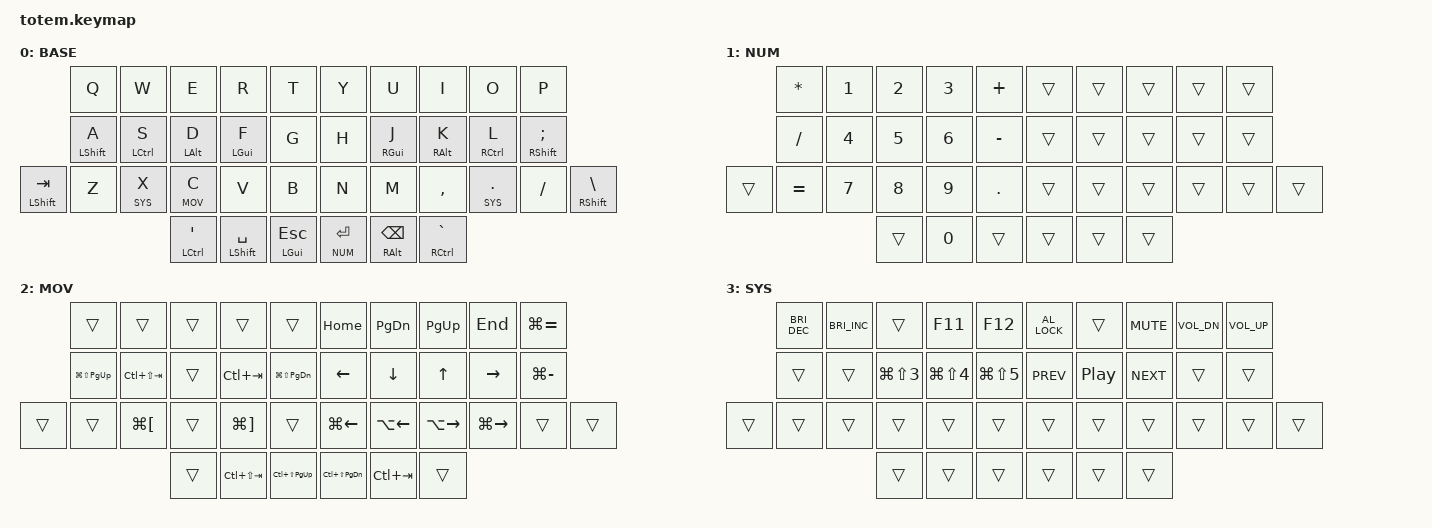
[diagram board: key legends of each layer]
//
//                                                        ▀▀▀▀▀     ▀▀▀▀▀          ▀▀█▀▀
//                                                        ▄▀▀▀▄  ▄  ▄▀▀▀▄  ▄  ▄▀▀▀▄  █  ▄▀▀▀▄
//                                                        █   █  █  █   █  █  █   █  █  █   █
//                                                         ▀▀▀   █   ▀▀▀   █   ▀▀▀   ▀   ▀▀▀
//                                                               █      ▄▄▄█▄▄▄    █   █  
//                                                               ▀      █  █  █     █▄█
//                                                             ▀▀▀▀▀    █  █  █      ▀
//                                                                      ▀  ▀  ▀
//
// ▄▄▄▄▄▄▄▄▄▄▄▄▄▄▄▄▄▄▄▄▄▄▄▄▄▄▄▄▄▄▄▄▄▄▄▄▄▄▄▄▄▄▄▄▄▄▄▄▄▄▄▄▄▄▄▄▄▄▄▄▄▄▄▄▄▄▄▄▄▄▄▄▄▄▄▄▄▄▄▄▄▄▄▄▄▄▄▄▄▄▄▄▄▄▄▄▄▄▄▄▄▄▄▄▄▄▄▄▄▄▄▄▄▄▄▄▄▄▄▄▄▄▄▄▄▄▄▄▄▄▄▄▄▄▄▄▄▄▄▄▄▄▄▄▄▄▄▄▄
			

#include <behaviors.dtsi>
#include <dt-bindings/zmk/keys.h>
#include <dt-bindings/zmk/bt.h>
#include <dt-bindings/zmk/outputs.h>

#define BASE 0
#define NUM  1
#define MOV  2
#define SYS  3

&mt {
  tapping-term-ms = <200>;
  quick-tap-ms = <150>;
  require-prior-idle-ms = <150>;
  flavor = "hold-preferred";
};

&lt {
  tapping-term-ms = <200>;
  quick-tap-ms = <150>;
  require-prior-idle-ms = <150>;
  flavor = "hold-preferred";
};

/ {
    behaviors {
        hml: home_row_mod_left {
            compatible = "zmk,behavior-hold-tap";
            #binding-cells = <2>;
            flavor = "balanced";
            require-prior-idle-ms = <150>;
            tapping-term-ms = <200>;
            global-quick-tap;
            quick-tap-ms = <150>;
            bindings = <&kp>, <&kp>;
            hold-trigger-key-positions = <5 6 7 8 9 15 16 17 18 19 26 27 28 29 30 31 32 33 34 35 36 37>;
            hold-trigger-on-release;
        };
        hmr: home_row_mod_right {
            compatible = "zmk,behavior-hold-tap";
            #binding-cells = <2>;
            flavor = "balanced";
            require-prior-idle-ms = <150>;
            tapping-term-ms = <200>;
            global-quick-tap;
            quick-tap-ms = <150>;
            bindings = <&kp>, <&kp>;
            hold-trigger-key-positions = <0 1 2 3 4 10 11 12 13 14 20 21 22 23 24 25 32 33 34 35 36 37>;
            hold-trigger-on-release;
        };
        st: secure_hold_tap {
            compatible = "zmk,behavior-hold-tap";
            #binding-cells = <2>;
            flavor = "balanced";
            require-prior-idle-ms = <150>;
            tapping-term-ms = <200>;
            global-quick-tap;
            quick-tap-ms = <150>;
            bindings = <&kp>, <&kp>;
            hold-trigger-on-release;
        };
    };
};

/ {
        keymap {
                compatible = "zmk,keymap";
// ▄▄▄▄▄▄▄▄▄▄▄▄▄▄▄▄▄▄▄▄▄▄▄▄▄▄▄▄▄▄▄▄▄▄▄▄▄▄▄▄▄▄▄▄▄▄▄▄▄▄▄▄▄▄▄▄▄▄▄▄▄▄▄▄▄▄▄▄▄▄▄▄▄▄▄▄▄▄▄▄▄▄▄▄▄▄▄▄▄▄▄▄▄▄▄▄▄▄▄▄▄▄▄▄▄▄▄▄▄▄▄▄▄▄▄▄▄▄▄▄▄▄▄▄▄▄▄▄▄▄▄▄▄▄▄▄▄▄▄▄▄▄▄▄▄▄▄▄▄

                base_layer {
// ┏━━━━━━━━━━━━━━━━━━━━━━━━━━━━━━━━━━━━━━━┓
label= "BASE"                              ;
// ┗━━━━━━━━━━━━━━━━━━━━━━━━━━━━━━━━━━━━━━━┛
//             ┏━━━━━━━━━━━┳━━━━━━━━━━━┳━━━━━━━━━━━┳━━━━━━━━━━━┳━━━━━━━━━━━┓   ┏━━━━━━━━━━━┳━━━━━━━━━━━┳━━━━━━━━━━━┳━━━━━━━━━━━┳━━━━━━━━━━━┓
//             ┃     Q     ┃     W     ┃     E     ┃     R     ┃     T     ┃   ┃     Y     ┃     U     ┃     I     ┃     O     ┃     P     ┃
//             ┣━━━━━━━━━━━╋━━━━━━━━━━━╋━━━━━━━━━━━╋━━━━━━━━━━━╋━━━━━━━━━━━┫   ┣━━━━━━━━━━━╋━━━━━━━━━━━╋━━━━━━━━━━━╋━━━━━━━━━━━╋━━━━━━━━━━━┫
//             ┃     A     ┃     S     ┃     D     ┃     F     ┃     G     ┃   ┃     H     ┃     J     ┃     K     ┃     L     ┃     ;     ┃
// ┏━━━━━━━━━━━╋━━━━━━━━━━━╋━━━━━━━━━━━╋━━━━━━━━━━━╋━━━━━━━━━━━╋━━━━━━━━━━━┫   ┣━━━━━━━━━━━╋━━━━━━━━━━━╋━━━━━━━━━━━╋━━━━━━━━━━━╋━━━━━━━━━━━╋━━━━━━━━━━━┓
// ┃    TAB    ┃     Z     ┃     X     ┃     C     ┃     V     ┃     B     ┃   ┃     N     ┃     M     ┃     ,     ┃     .     ┃     /     ┃     \     ┃
// ┗━━━━━━━━━━━┻━━━━━━━━━━━┻━━━━━━━━━━━╋━━━━━━━━━━━╋━━━━━━━━━━━╋━━━━━━━━━━━┫   ┣━━━━━━━━━━━╋━━━━━━━━━━━╋━━━━━━━━━━━╋━━━━━━━━━━━┻━━━━━━━━━━━┻━━━━━━━━━━━┛
//                                     ┃     '     ┃   SPACE   ┃    ESC    ┃   ┃   ENTER   ┃    BSPC   ┃     `     ┃
//                                     ┗━━━━━━━━━━━┻━━━━━━━━━━━┻━━━━━━━━━━━┛   ┗━━━━━━━━━━━┻━━━━━━━━━━━┻━━━━━━━━━━━┛

 bindings = <
// ╷             ╷             ╷             ╷             ╷             ╷             ╷   ╷             ╷              ╷             ╷             ╷             ╷             ╷

                  &kp Q         &kp W         &kp E         &kp R         &kp T             &kp Y         &kp U          &kp I         &kp O         &kp P
                  &hml LSHFT A  &hml LCTRL S  &hml LALT D   &hml LGUI F   &kp G             &kp H         &hmr RGUI J    &hmr RALT K   &hmr RCTRL L  &hmr RSHFT SEMI
    &mt LSHFT TAB &kp Z         &lt SYS X     &lt MOV C     &kp V         &kp B             &kp N         &kp M          &kp COMMA     &lt SYS DOT   &kp FSLH      &mt RSHFT BSLH
                                              &mt LCTRL SQT &st LSHFT SPACE &mt LGUI ESC    &lt NUM ENTER &mt RALT BSPC  &mt RCTRL GRAVE
                        >;
                };

// ▄▄▄▄▄▄▄▄▄▄▄▄▄▄▄▄▄▄▄▄▄▄▄▄▄▄▄▄▄▄▄▄▄▄▄▄▄▄▄▄▄▄▄▄▄▄▄▄▄▄▄▄▄▄▄▄▄▄▄▄▄▄▄▄▄▄▄▄▄▄▄▄▄▄▄▄▄▄▄▄▄▄▄▄▄▄▄▄▄▄▄▄▄▄▄▄▄▄▄▄▄▄▄▄▄▄▄▄▄▄▄▄▄▄▄▄▄▄▄▄▄▄▄▄▄▄▄▄▄▄▄▄▄▄▄▄▄▄▄▄▄▄▄▄▄▄▄▄▄

                num_layer {
// ┏━━━━━━━━━━━━━━━━━━━━━━━━━━━━━━━━━━━━━━━┓
label= "NUM"                               ;
// ┗━━━━━━━━━━━━━━━━━━━━━━━━━━━━━━━━━━━━━━━┛
//             ┏━━━━━━━━━━━┳━━━━━━━━━━━┳━━━━━━━━━━━┳━━━━━━━━━━━┳━━━━━━━━━━━┓   ┏━━━━━━━━━━━┳━━━━━━━━━━━┳━━━━━━━━━━━┳━━━━━━━━━━━┳━━━━━━━━━━━┓
//             ┃     *     ┃     1     ┃     2     ┃     3     ┃     +     ┃   ┃           ┃           ┃           ┃           ┃           ┃
//             ┣━━━━━━━━━━━╋━━━━━━━━━━━╋━━━━━━━━━━━╋━━━━━━━━━━━╋━━━━━━━━━━━┫   ┣━━━━━━━━━━━╋━━━━━━━━━━━╋━━━━━━━━━━━╋━━━━━━━━━━━╋━━━━━━━━━━━┫
//             ┃     /     ┃     4     ┃     5     ┃     6     ┃     -     ┃   ┃           ┃           ┃           ┃           ┃           ┃
// ┏━━━━━━━━━━━╋━━━━━━━━━━━╋━━━━━━━━━━━╋━━━━━━━━━━━╋━━━━━━━━━━━╋━━━━━━━━━━━┫   ┣━━━━━━━━━━━╋━━━━━━━━━━━╋━━━━━━━━━━━╋━━━━━━━━━━━╋━━━━━━━━━━━╋━━━━━━━━━━━┓
// ┃           ┃     =     ┃     7     ┃     8     ┃     9     ┃     .     ┃   ┃           ┃           ┃           ┃           ┃           ┃           ┃
// ┗━━━━━━━━━━━┻━━━━━━━━━━━┻━━━━━━━━━━━╋━━━━━━━━━━━╋━━━━━━━━━━━╋━━━━━━━━━━━┫   ┣━━━━━━━━━━━╋━━━━━━━━━━━╋━━━━━━━━━━━╋━━━━━━━━━━━┻━━━━━━━━━━━┻━━━━━━━━━━━┛
//                                     ┃           ┃     0     ┃           ┃   ┃           ┃           ┃           ┃
//                                     ┗━━━━━━━━━━━┻━━━━━━━━━━━┻━━━━━━━━━━━┛   ┗━━━━━━━━━━━┻━━━━━━━━━━━┻━━━━━━━━━━━┛
 bindings = <
// ╷           ╷           ╷           ╷           ╷           ╷           ╷   ╷           ╷           ╷           ╷           ╷           ╷           ╷

                &kp STAR    &kp N1      &kp N2      &kp N3      &kp PLUS        &trans      &trans      &trans      &trans      &trans
                &kp SLASH   &kp N4      &kp N5      &kp N6      &kp MINUS       &trans      &trans      &trans      &trans      &trans
    &trans      &kp EQUAL   &kp N7      &kp N8      &kp N9      &kp DOT         &trans      &trans      &trans      &trans      &trans      &trans
                                        &trans      &kp N0      &trans          &trans      &trans      &trans
                        >;
                };

// ▄▄▄▄▄▄▄▄▄▄▄▄▄▄▄▄▄▄▄▄▄▄▄▄▄▄▄▄▄▄▄▄▄▄▄▄▄▄▄▄▄▄▄▄▄▄▄▄▄▄▄▄▄▄▄▄▄▄▄▄▄▄▄▄▄▄▄▄▄▄▄▄▄▄▄▄▄▄▄▄▄▄▄▄▄▄▄▄▄▄▄▄▄▄▄▄▄▄▄▄▄▄▄▄▄▄▄▄▄▄▄▄▄▄▄▄▄▄▄▄▄▄▄▄▄▄▄▄▄▄▄▄▄▄▄▄▄▄▄▄▄▄▄▄▄▄▄▄▄


                sim_layer {
// ┏━━━━━━━━━━━━━━━━━━━━━━━━━━━━━━━━━━━━━━━┓
label= "MOV"                               ;
// ┗━━━━━━━━━━━━━━━━━━━━━━━━━━━━━━━━━━━━━━━┛
//             ┏━━━━━━━━━━━┳━━━━━━━━━━━┳━━━━━━━━━━━┳━━━━━━━━━━━┳━━━━━━━━━━━┓   ┏━━━━━━━━━━━┳━━━━━━━━━━━┳━━━━━━━━━━━┳━━━━━━━━━━━┳━━━━━━━━━━━┓
//             ┃           ┃           ┃           ┃           ┃           ┃   ┃    HOME   ┃   PG_DN   ┃   PG_UP   ┃    END    ┃  ZOOM IN  ┃
//             ┣━━━━━━━━━━━╋━━━━━━━━━━━╋━━━━━━━━━━━╋━━━━━━━━━━━╋━━━━━━━━━━━┫   ┣━━━━━━━━━━━╋━━━━━━━━━━━╋━━━━━━━━━━━╋━━━━━━━━━━━╋━━━━━━━━━━━┫
//             ┃  MV TAB ⬅ ┃ PREV TAB  ┃           ┃ NEXT TAB  ┃ MV TAB ⮕  ┃   ┃    LEFT   ┃    DOWN   ┃     UP    ┃   RIGHT   ┃  ZOOM OUT ┃
// ┏━━━━━━━━━━━╋━━━━━━━━━━━╋━━━━━━━━━━━╋━━━━━━━━━━━╋━━━━━━━━━━━╋━━━━━━━━━━━┫   ┣━━━━━━━━━━━╋━━━━━━━━━━━╋━━━━━━━━━━━╋━━━━━━━━━━━╋━━━━━━━━━━━╋━━━━━━━━━━━┓
// ┃           ┃           ┃ PREV PAGE ┃           ┃ NEXT PAGE ┃           ┃   ┃   LINE ⬅  ┃   WORD ⬅  ┃  ⮕  WORD  ┃  ⮕  LINE  ┃           ┃           ┃
// ┗━━━━━━━━━━━┻━━━━━━━━━━━┻━━━━━━━━━━━╋━━━━━━━━━━━╋━━━━━━━━━━━╋━━━━━━━━━━━┫   ┣━━━━━━━━━━━╋━━━━━━━━━━━╋━━━━━━━━━━━╋━━━━━━━━━━━┻━━━━━━━━━━━┻━━━━━━━━━━━┛
//                                     ┃           ┃ PREV TAB  ┃ MV TAB ⬅  ┃   ┃  MV TAB ⮕ ┃ NEXT TAB  ┃           ┃
//                                     ┗━━━━━━━━━━━┻━━━━━━━━━━━┻━━━━━━━━━━━┛   ┗━━━━━━━━━━━┻━━━━━━━━━━━┻━━━━━━━━━━━┛
 bindings = <
// ╷           ╷                  ╷                ╷                ╷                  ╷           ╷   ╷             ╷            ╷             ╷             ╷             ╷           ╷

                &trans             &trans           &trans           &trans             &trans          &kp HOME      &kp PG_DN    &kp PG_UP     &kp END       &kp LG(EQUAL)
                &kp LG(LS(PG_UP))  &kp LC(LS(TAB))  &trans           &kp LC(TAB)        &kp LG(LS(PG_DN))            &kp LEFT      &kp DOWN     &kp UP        &kp RIGHT     &kp LG(MINUS)
    &trans      &trans             &kp LG(LBKT)     &trans           &kp LG(RBKT)       &trans          &kp LG(LEFT)  &kp LA(LEFT) &kp LA(RIGHT) &kp LG(RIGHT) &trans        &trans
                                                    &trans           &kp LC(LS(TAB))    &kp LC(LS(PG_UP)) &kp LC(LS(PG_DN)) &kp LC(TAB) &trans
                        >;
                };

// ▄▄▄▄▄▄▄▄▄▄▄▄▄▄▄▄▄▄▄▄▄▄▄▄▄▄▄▄▄▄▄▄▄▄▄▄▄▄▄▄▄▄▄▄▄▄▄▄▄▄▄▄▄▄▄▄▄▄▄▄▄▄▄▄▄▄▄▄▄▄▄▄▄▄▄▄▄▄▄▄▄▄▄▄▄▄▄▄▄▄▄▄▄▄▄▄▄▄▄▄▄▄▄▄▄▄▄▄▄▄▄▄▄▄▄▄▄▄▄▄▄▄▄▄▄▄▄▄▄▄▄▄▄▄▄▄▄▄▄▄▄▄▄▄▄▄▄▄▄

                sys_layer {
// ┏━━━━━━━━━━━━━━━━━━━━━━━━━━━━━━━━━━━━━━━┓
label= "SYS"                               ;
// ┗━━━━━━━━━━━━━━━━━━━━━━━━━━━━━━━━━━━━━━━┛
//             ┏━━━━━━━━━━━┳━━━━━━━━━━━┳━━━━━━━━━━━┳━━━━━━━━━━━┳━━━━━━━━━━━┓   ┏━━━━━━━━━━━┳━━━━━━━━━━━┳━━━━━━━━━━━┳━━━━━━━━━━━┳━━━━━━━━━━━┓
//             ┃   BRI DN  ┃   BRI UP  ┃           ┃           ┃           ┃   ┃   LOCK    ┃           ┃    MUTE   ┃   VOL DN  ┃   VOL UP  ┃
//             ┣━━━━━━━━━━━╋━━━━━━━━━━━╋━━━━━━━━━━━╋━━━━━━━━━━━╋━━━━━━━━━━━┫   ┣━━━━━━━━━━━╋━━━━━━━━━━━╋━━━━━━━━━━━╋━━━━━━━━━━━╋━━━━━━━━━━━┫
//             ┃           ┃           ┃  CAPTURE3 ┃  CAPTURE4 ┃  CAPTURE5 ┃   ┃    PREV   ┃   PAUSE   ┃    NEXT   ┃           ┃           ┃
// ┏━━━━━━━━━━━╋━━━━━━━━━━━╋━━━━━━━━━━━╋━━━━━━━━━━━╋━━━━━━━━━━━╋━━━━━━━━━━━┫   ┣━━━━━━━━━━━╋━━━━━━━━━━━╋━━━━━━━━━━━╋━━━━━━━━━━━╋━━━━━━━━━━━╋━━━━━━━━━━━┓
// ┃           ┃           ┃           ┃           ┃           ┃           ┃   ┃           ┃           ┃           ┃           ┃           ┃           ┃
// ┗━━━━━━━━━━━┻━━━━━━━━━━━┻━━━━━━━━━━━╋━━━━━━━━━━━╋━━━━━━━━━━━╋━━━━━━━━━━━┫   ┣━━━━━━━━━━━╋━━━━━━━━━━━╋━━━━━━━━━━━╋━━━━━━━━━━━┻━━━━━━━━━━━┻━━━━━━━━━━━┛
//                                     ┃           ┃           ┃           ┃   ┃           ┃           ┃           ┃
//                                     ┗━━━━━━━━━━━┻━━━━━━━━━━━┻━━━━━━━━━━━┛   ┗━━━━━━━━━━━┻━━━━━━━━━━━┻━━━━━━━━━━━┛
 bindings = <
// ╷           ╷                  ╷                ╷                ╷                  ╷           ╷   ╷             ╷            ╷             ╷             ╷             ╷

                &kp C_BRI_DEC      &kp C_BRI_INC    &trans           &kp F11            &kp F12         &kp C_AL_LOCK &trans       &kp C_MUTE    &kp C_VOL_DN  &kp C_VOL_UP
                &trans             &trans           &kp LG(LS(N3))   &kp LG(LS(N4))     &kp LG(LS(N5))  &kp C_PREV    &kp C_PP     &kp C_NEXT    &trans        &trans
    &trans      &trans             &trans           &trans           &trans             &trans          &trans        &trans       &trans        &trans        &trans        &trans
                                                    &trans           &trans             &trans          &trans        &trans       &trans
                        >;
                };

// ▄▄▄▄▄▄▄▄▄▄▄▄▄▄▄▄▄▄▄▄▄▄▄▄▄▄▄▄▄▄▄▄▄▄▄▄▄▄▄▄▄▄▄▄▄▄▄▄▄▄▄▄▄▄▄▄▄▄▄▄▄▄▄▄▄▄▄▄▄▄▄▄▄▄▄▄▄▄▄▄▄▄▄▄▄▄▄▄▄▄▄▄▄▄▄▄▄▄▄▄▄▄▄▄▄▄▄▄▄▄▄▄▄▄▄▄▄▄▄▄▄▄▄▄▄▄▄▄▄▄▄▄▄▄▄▄▄▄▄▄▄▄▄▄▄▄▄▄▄


        };

};





//                 sys_layer {
// // ┏━━━━━━━━━━━━━━━━━━━━━━━━━━━━━━━━━━━━━━━┓
// label= "SYS"                               ;
// // ┗━━━━━━━━━━━━━━━━━━━━━━━━━━━━━━━━━━━━━━━┛
// //             ┏━━━━━━━━━━━┳━━━━━━━━━━━┳━━━━━━━━━━━┳━━━━━━━━━━━┳━━━━━━━━━━━┓   ┏━━━━━━━━━━━┳━━━━━━━━━━━┳━━━━━━━━━━━┳━━━━━━━━━━━┳━━━━━━━━━━━┓
// //             ┃           ┃           ┃           ┃           ┃           ┃   ┃           ┃           ┃           ┃           ┃           ┃
// //             ┣━━━━━━━━━━━╋━━━━━━━━━━━╋━━━━━━━━━━━╋━━━━━━━━━━━╋━━━━━━━━━━━┫   ┣━━━━━━━━━━━╋━━━━━━━━━━━╋━━━━━━━━━━━╋━━━━━━━━━━━╋━━━━━━━━━━━┫
// //             ┃           ┃           ┃           ┃           ┃           ┃   ┃           ┃           ┃           ┃           ┃           ┃
// // ┏━━━━━━━━━━━╋━━━━━━━━━━━╋━━━━━━━━━━━╋━━━━━━━━━━━╋━━━━━━━━━━━╋━━━━━━━━━━━┫   ┣━━━━━━━━━━━╋━━━━━━━━━━━╋━━━━━━━━━━━╋━━━━━━━━━━━╋━━━━━━━━━━━╋━━━━━━━━━━━┓
// // ┃           ┃           ┃           ┃           ┃           ┃           ┃   ┃           ┃           ┃           ┃           ┃           ┃           ┃
// // ┗━━━━━━━━━━━┻━━━━━━━━━━━┻━━━━━━━━━━━╋━━━━━━━━━━━╋━━━━━━━━━━━╋━━━━━━━━━━━┫   ┣━━━━━━━━━━━╋━━━━━━━━━━━╋━━━━━━━━━━━╋━━━━━━━━━━━┻━━━━━━━━━━━┻━━━━━━━━━━━┛
// //                                     ┃           ┃           ┃           ┃   ┃           ┃           ┃           ┃
// //                                     ┗━━━━━━━━━━━┻━━━━━━━━━━━┻━━━━━━━━━━━┛   ┗━━━━━━━━━━━┻━━━━━━━━━━━┻━━━━━━━━━━━┛
//  bindings = <
// // ╷           ╷                  ╷                ╷                ╷                  ╷           ╷   ╷             ╷            ╷             ╷             ╷             ╷           ╷
//
//                 &trans             &trans           &trans           &trans             &trans          &trans        &trans       &trans        &trans        &trans
//                 &trans             &trans           &trans           &trans             &trans          &trans        &trans       &trans        &trans        &trans
//     &trans      &trans             &trans           &trans           &trans             &trans          &trans        &trans       &trans        &trans        &trans        &trans
//                                                     &trans           &trans             &trans          &trans        &trans       &trans
//                         >;
//                 };
//
// // ▄▄▄▄▄▄▄▄▄▄▄▄▄▄▄▄▄▄▄▄▄▄▄▄▄▄▄▄▄▄▄▄▄▄▄▄▄▄▄▄▄▄▄▄▄▄▄▄▄▄▄▄▄▄▄▄▄▄▄▄▄▄▄▄▄▄▄▄▄▄▄▄▄▄▄▄▄▄▄▄▄▄▄▄▄▄▄▄▄▄▄▄▄▄▄▄▄▄▄▄▄▄▄▄▄▄▄▄▄▄▄▄▄▄▄▄▄▄▄▄▄▄▄▄▄▄▄▄▄▄▄▄▄▄▄▄▄▄▄▄▄▄▄▄▄▄▄▄▄
